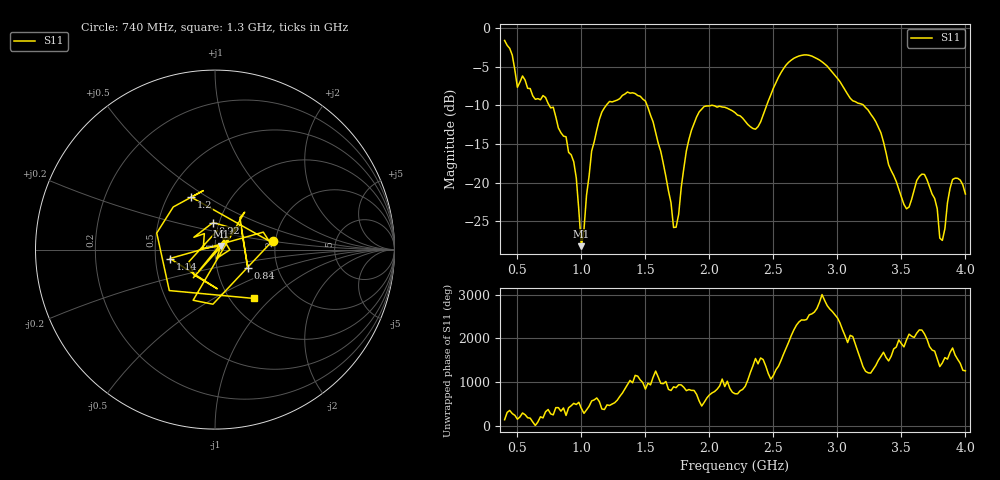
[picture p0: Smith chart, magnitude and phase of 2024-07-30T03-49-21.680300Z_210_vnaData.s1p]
!Created with skrf (http://scikit-rf.org).
# Hz S RI R 50.0
!freq ReS11 ImS11
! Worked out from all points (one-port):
!   181 points, 400 MHz to 4 GHz, reference 50 ohm
!   lowest |S11| = -28.2 dB at 1 GHz (marker M1), VSWR 1.08, Z = 53.4 + j2.17 ohm
!   |S11| at or under -10 dB: 748.5 MHz to 1.194 GHz (445.7 MHz wide, 45.9 % of centre); 1.513 GHz to 2.017 GHz (504.1 MHz wide, 28.6 % of centre); 3.205 GHz to end of sweep (the widest 3 of 4)
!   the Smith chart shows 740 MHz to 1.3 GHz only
!   S11 on the Smith chart (normalised r, x): 740 MHz: 1.93, +0.21; 840 MHz: 1.41, -0.31; 920 MHz: 0.94, +0.29; 1.14 GHz: 0.60, -0.06; 1.2 GHz: 0.66, +0.43; 1.3 GHz: 1.28, -0.80
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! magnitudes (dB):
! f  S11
! 400 MHz  -1.6
! 500 MHz  -7.7
! 740 MHz  -9.8
! 840 MHz  -13.5
! 860 MHz  -14.0
! 920 MHz  -16.4
! 960 MHz  -19.4
! 1 GHz  -28.2
! 1.08 GHz  -15.9
! 1.14 GHz  -11.8
! 1.2 GHz  -9.9
! 1.3 GHz  -9.1
! 1.5 GHz  -9.4
! 1.62 GHz  -16.0
! 1.72 GHz  -25.8
! 1.76 GHz  -24.1
! 1.82 GHz  -15.9
! 1.92 GHz  -10.9
! 2.2 GHz  -10.9
! 2.36 GHz  -13.1
! 2.66 GHz  -3.9
! 3.1 GHz  -9.1
! 3.3 GHz  -12.1
! 3.56 GHz  -23.2
! 3.68 GHz  -18.9
! 3.82 GHz  -27.5
! 3.9 GHz  -19.6
! 4 GHz  -21.5
